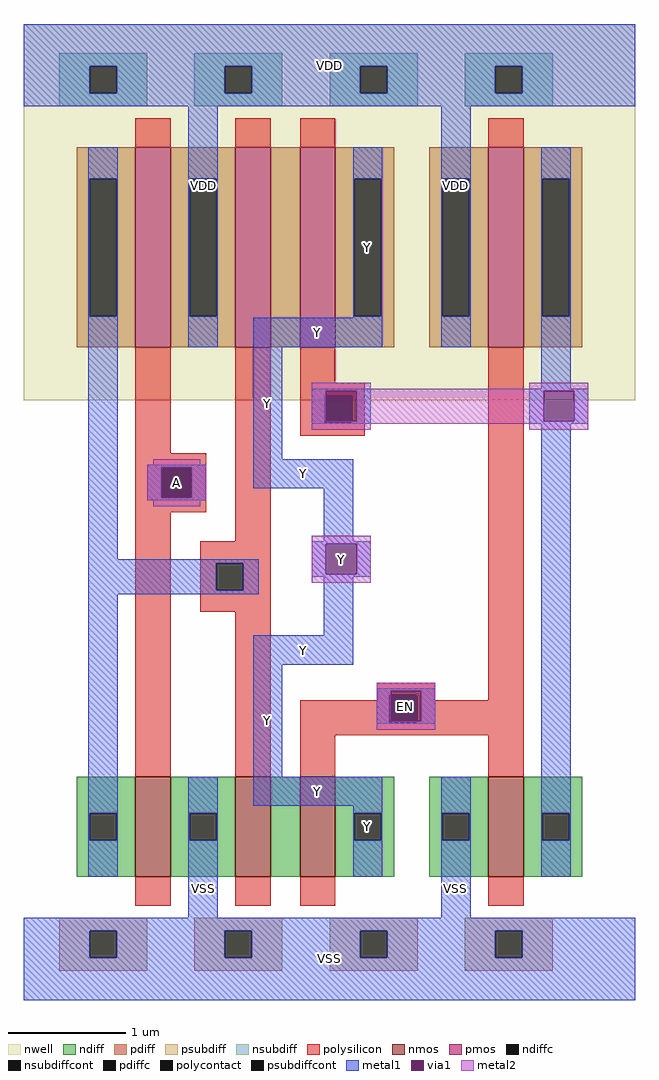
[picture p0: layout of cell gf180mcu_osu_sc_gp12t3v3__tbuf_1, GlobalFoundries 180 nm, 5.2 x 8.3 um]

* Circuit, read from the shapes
.subckt gf180mcu_osu_sc_gp12t3v3__tbuf_1 A Y EN VDD VSS
XM1 VSS A n1 VSS nfet_03v3 w=0.85u l=0.3u
XM2 n2 n1 VSS VSS nfet_03v3 w=0.85u l=0.3u
XM3 Y EN n2 VSS nfet_03v3 w=0.85u l=0.3u
XM4 n3 EN VSS VSS nfet_03v3 w=0.85u l=0.3u
XM5 VDD A n1 VDD pfet_03v3 w=1.7u l=0.3u
XM6 n4 n1 VDD VDD pfet_03v3 w=1.7u l=0.3u
XM7 Y n3 n4 VDD pfet_03v3 w=1.7u l=0.3u
XM8 n3 EN VDD VDD pfet_03v3 w=1.7u l=0.3u
.ends

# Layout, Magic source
magic
tech gf180mcuA
magscale 1 10
<< nwell >>
rect 0 1020 1040 1660
<< nmos >>
rect 190 210 250 380
rect 360 210 420 380
rect 470 210 530 380
rect 790 210 850 380
<< pmos >>
rect 190 1110 250 1450
rect 360 1110 420 1450
rect 470 1110 530 1450
rect 790 1110 850 1450
<< ndiff >>
rect 90 318 190 380
rect 90 272 112 318
rect 158 272 190 318
rect 90 210 190 272
rect 250 318 360 380
rect 250 272 282 318
rect 328 272 360 318
rect 250 210 360 272
rect 420 210 470 380
rect 530 318 630 380
rect 530 272 562 318
rect 608 272 630 318
rect 530 210 630 272
rect 690 318 790 380
rect 690 272 712 318
rect 758 272 790 318
rect 690 210 790 272
rect 850 318 950 380
rect 850 272 882 318
rect 928 272 950 318
rect 850 210 950 272
<< pdiff >>
rect 90 1397 190 1450
rect 90 1163 112 1397
rect 158 1163 190 1397
rect 90 1110 190 1163
rect 250 1397 360 1450
rect 250 1163 282 1397
rect 328 1163 360 1397
rect 250 1110 360 1163
rect 420 1110 470 1450
rect 530 1397 630 1450
rect 530 1163 562 1397
rect 608 1163 630 1397
rect 530 1110 630 1163
rect 690 1397 790 1450
rect 690 1163 712 1397
rect 758 1163 790 1397
rect 690 1110 790 1163
rect 850 1397 950 1450
rect 850 1163 882 1397
rect 928 1163 950 1397
rect 850 1110 950 1163
<< ndiffc >>
rect 112 272 158 318
rect 282 272 328 318
rect 562 272 608 318
rect 712 272 758 318
rect 882 272 928 318
<< pdiffc >>
rect 112 1163 158 1397
rect 282 1163 328 1397
rect 562 1163 608 1397
rect 712 1163 758 1397
rect 882 1163 928 1397
<< psubdiff >>
rect 60 118 210 140
rect 60 72 112 118
rect 158 72 210 118
rect 60 50 210 72
rect 290 118 440 140
rect 290 72 342 118
rect 388 72 440 118
rect 290 50 440 72
rect 520 118 670 140
rect 520 72 572 118
rect 618 72 670 118
rect 520 50 670 72
rect 750 118 900 140
rect 750 72 802 118
rect 848 72 900 118
rect 750 50 900 72
<< nsubdiff >>
rect 60 1588 210 1610
rect 60 1542 112 1588
rect 158 1542 210 1588
rect 60 1520 210 1542
rect 290 1588 440 1610
rect 290 1542 342 1588
rect 388 1542 440 1588
rect 290 1520 440 1542
rect 520 1588 670 1610
rect 520 1542 572 1588
rect 618 1542 670 1588
rect 520 1520 670 1542
rect 750 1588 900 1610
rect 750 1542 802 1588
rect 848 1542 900 1588
rect 750 1520 900 1542
<< psubdiffcont >>
rect 112 72 158 118
rect 342 72 388 118
rect 572 72 618 118
rect 802 72 848 118
<< nsubdiffcont >>
rect 112 1542 158 1588
rect 342 1542 388 1588
rect 572 1542 618 1588
rect 802 1542 848 1588
<< polysilicon >>
rect 190 1450 250 1500
rect 360 1450 420 1500
rect 470 1450 530 1500
rect 790 1450 850 1500
rect 190 930 250 1110
rect 190 903 310 930
rect 190 857 237 903
rect 283 857 310 903
rect 190 830 310 857
rect 190 380 250 830
rect 360 780 420 1110
rect 470 1050 530 1110
rect 470 1028 580 1050
rect 470 982 512 1028
rect 558 982 580 1028
rect 470 960 580 982
rect 300 743 420 780
rect 300 697 327 743
rect 373 697 420 743
rect 300 660 420 697
rect 360 380 420 660
rect 600 518 700 540
rect 600 510 622 518
rect 470 472 622 510
rect 668 510 700 518
rect 790 510 850 1110
rect 668 472 850 510
rect 470 450 850 472
rect 470 380 530 450
rect 790 380 850 450
rect 190 160 250 210
rect 360 160 420 210
rect 470 160 530 210
rect 790 160 850 210
<< polycontact >>
rect 237 857 283 903
rect 512 982 558 1028
rect 327 697 373 743
rect 622 472 668 518
<< metal1 >>
rect 0 1588 1040 1660
rect 0 1542 112 1588
rect 158 1542 342 1588
rect 388 1542 572 1588
rect 618 1542 802 1588
rect 848 1542 1040 1588
rect 0 1520 1040 1542
rect 110 1397 160 1450
rect 110 1163 112 1397
rect 158 1163 160 1397
rect 110 750 160 1163
rect 280 1397 330 1520
rect 280 1163 282 1397
rect 328 1163 330 1397
rect 280 1110 330 1163
rect 560 1397 610 1450
rect 560 1163 562 1397
rect 608 1163 610 1397
rect 560 1160 610 1163
rect 390 1110 610 1160
rect 710 1397 760 1520
rect 710 1163 712 1397
rect 758 1163 760 1397
rect 710 1110 760 1163
rect 880 1397 930 1450
rect 880 1163 882 1397
rect 928 1163 930 1397
rect 390 920 440 1110
rect 880 1040 930 1163
rect 490 1036 590 1040
rect 490 1028 514 1036
rect 490 982 512 1028
rect 566 984 590 1036
rect 558 982 590 984
rect 490 980 590 982
rect 860 1036 960 1040
rect 860 984 884 1036
rect 936 984 960 1036
rect 860 980 960 984
rect 210 906 310 910
rect 210 854 234 906
rect 286 854 310 906
rect 390 870 560 920
rect 210 850 310 854
rect 510 780 560 870
rect 490 776 590 780
rect 110 743 400 750
rect 110 697 327 743
rect 373 697 400 743
rect 490 724 514 776
rect 566 724 590 776
rect 490 720 590 724
rect 110 690 400 697
rect 110 318 160 690
rect 510 620 560 720
rect 390 570 560 620
rect 390 380 440 570
rect 600 526 700 530
rect 600 518 624 526
rect 600 472 622 518
rect 676 474 700 526
rect 668 472 700 474
rect 600 470 700 472
rect 110 272 112 318
rect 158 272 160 318
rect 110 210 160 272
rect 280 318 330 380
rect 390 330 610 380
rect 280 272 282 318
rect 328 272 330 318
rect 280 140 330 272
rect 560 318 610 330
rect 560 272 562 318
rect 608 272 610 318
rect 560 210 610 272
rect 710 318 760 380
rect 710 272 712 318
rect 758 272 760 318
rect 710 140 760 272
rect 880 318 930 980
rect 880 272 882 318
rect 928 272 930 318
rect 880 210 930 272
rect 0 118 1040 140
rect 0 72 112 118
rect 158 72 342 118
rect 388 72 572 118
rect 618 72 802 118
rect 848 72 1040 118
rect 0 0 1040 72
<< via1 >>
rect 514 1028 566 1036
rect 514 984 558 1028
rect 558 984 566 1028
rect 884 984 936 1036
rect 234 903 286 906
rect 234 857 237 903
rect 237 857 283 903
rect 283 857 286 903
rect 234 854 286 857
rect 514 724 566 776
rect 624 518 676 526
rect 624 474 668 518
rect 668 474 676 518
<< metal2 >>
rect 490 1040 590 1050
rect 860 1040 960 1050
rect 490 1036 960 1040
rect 490 984 514 1036
rect 566 984 884 1036
rect 936 984 960 1036
rect 490 980 960 984
rect 490 970 590 980
rect 860 970 960 980
rect 220 910 300 920
rect 210 906 310 910
rect 210 854 234 906
rect 286 854 310 906
rect 210 850 310 854
rect 220 840 300 850
rect 490 776 590 790
rect 490 724 514 776
rect 566 724 590 776
rect 490 710 590 724
rect 600 526 700 540
rect 600 474 624 526
rect 676 474 700 526
rect 600 460 700 474
<< labels >>
rlabel via1 s 234 854 286 906 4 A
port 1 nsew signal input
rlabel via1 s 514 724 566 776 4 Y
port 2 nsew signal output
rlabel via1 s 624 474 676 526 4 EN
port 3 nsew signal input
rlabel metal1 s 280 1110 330 1660 4 VDD
port 4 nsew power bidirectional abutment
rlabel metal1 s 280 0 330 380 4 VSS
port 5 nsew ground bidirectional abutment
rlabel metal1 s 710 1110 760 1660 1 VDD
port 4 nsew power bidirectional abutment
rlabel metal1 s 0 1520 1040 1660 1 VDD
port 4 nsew power bidirectional abutment
rlabel metal1 s 710 0 760 380 1 VSS
port 5 nsew ground bidirectional abutment
rlabel metal1 s 0 0 1040 140 1 VSS
port 5 nsew ground bidirectional abutment
rlabel metal2 s 220 840 300 920 1 A
port 1 nsew signal input
rlabel metal2 s 210 850 310 910 1 A
port 1 nsew signal input
rlabel metal1 s 210 850 310 910 1 A
port 1 nsew signal input
rlabel metal2 s 600 460 700 540 1 EN
port 3 nsew signal input
rlabel metal1 s 600 470 700 530 1 EN
port 3 nsew signal input
rlabel metal2 s 490 710 590 790 1 Y
port 2 nsew signal output
rlabel metal1 s 390 330 440 620 1 Y
port 2 nsew signal output
rlabel metal1 s 390 870 440 1160 1 Y
port 2 nsew signal output
rlabel metal1 s 390 570 560 620 1 Y
port 2 nsew signal output
rlabel metal1 s 390 1110 610 1160 1 Y
port 2 nsew signal output
rlabel metal1 s 510 570 560 920 1 Y
port 2 nsew signal output
rlabel metal1 s 390 870 560 920 1 Y
port 2 nsew signal output
rlabel metal1 s 490 720 590 780 1 Y
port 2 nsew signal output
rlabel metal1 s 560 210 610 380 1 Y
port 2 nsew signal output
rlabel metal1 s 390 330 610 380 1 Y
port 2 nsew signal output
rlabel metal1 s 560 1110 610 1450 1 Y
port 2 nsew signal output
<< properties >>
string FIXED_BBOX 0 0 1040 1660
string GDS_END 504516
string GDS_FILE $PDKPATH/libs.ref/gf180mcu_osu_sc_gp12t3v3/gds/gf180mcu_osu_sc_gp12t3v3.gds
string GDS_START 497214
string LEFclass CORE
string LEFsite gf180mcu_osu_sc_gp12t3v3
string LEFsymmetry X Y
<< end >>
